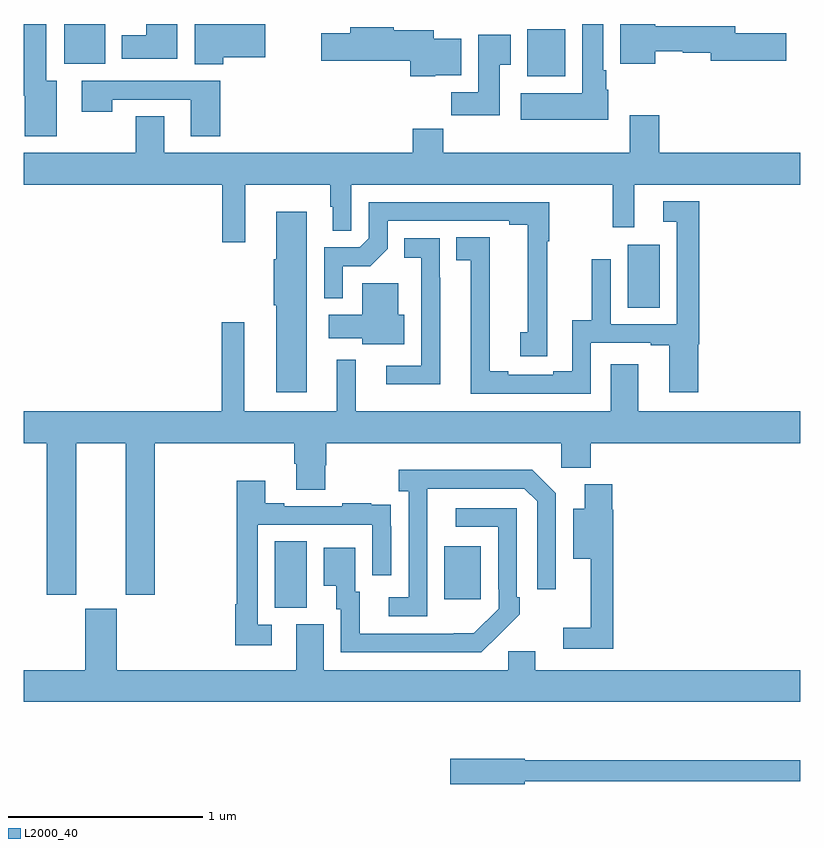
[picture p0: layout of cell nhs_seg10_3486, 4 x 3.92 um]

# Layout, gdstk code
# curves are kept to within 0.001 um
import gdstk
lib = gdstk.Library(unit=1e-6, precision=1e-09)
def R(c, l, rs):  # rectangles x0, y0, x1, y1
    for r in rs: c.add(gdstk.rectangle(r[:2], r[2:], *l))
def P(c, l, *ps):  # polygons
    for p in ps: c.add(gdstk.Polygon(p, *l))
L2000_40 = (2000, 40)

nhs_seg10_3486 = lib.new_cell('nhs_seg10_3486')
R(nhs_seg10_3486, L2000_40, [(302.294,1275.493,302.458,1275.836), (303.167,1275.537,303.355,1275.811), (304.112,1277.038,304.276,1277.362), (303.593,1278.23,303.79,1278.472), (301.208,1278.296,301.42,1278.5)])
P(nhs_seg10_3486, L2000_40, [(302.027,1278.329),(302.245,1278.329),(302.245,1278.5),(301.88,1278.5),(301.88,1278.292),(302.027,1278.292)],
  [(304.012,1278.162),(304,1278.162),(304,1278.262),(303.985,1278.262),(303.985,1278.5),(303.878,1278.5),(303.878,1278.142),(303.561,1278.142),(303.561,1278.008),(304.012,1278.008)],
  [(301.792,1278.5),(301.631,1278.5),(301.631,1278.442),(301.505,1278.442),(301.505,1278.32),(301.792,1278.32)],
  [(304.252,1278.36),(304.395,1278.36),(304.395,1278.352),(304.538,1278.352),(304.538,1278.31),(304.927,1278.31),(304.927,1278.452),(304.666,1278.452),(304.666,1278.488),(304.252,1278.488),(304.252,1278.5),(304.073,1278.5),(304.073,1278.296),(304.252,1278.296)],
  [(301.171,1278.208),(301.117,1278.208),(301.117,1278.5),(301,1278.5),(301,1278.13),(301.004,1278.13),(301.004,1277.922),(301.171,1277.922)],
  [(303.12,1278.236),(303.253,1278.236),(303.253,1278.424),(303.112,1278.424),(303.112,1278.469),(302.906,1278.469),(302.906,1278.482),(302.681,1278.482),(302.681,1278.452),(302.532,1278.452),(302.532,1278.31),(302.99,1278.31),(302.99,1278.23),(303.12,1278.23)],
  [(303.451,1278.289),(303.508,1278.289),(303.508,1278.445),(303.341,1278.445),(303.341,1278.148),(303.202,1278.148),(303.202,1278.03),(303.451,1278.03)],
  [(302.012,1278.207),(301.299,1278.207),(301.299,1278.048),(301.455,1278.048),(301.455,1278.111),(301.859,1278.111),(301.859,1277.922),(302.012,1277.922)],
  [(302.14,1277.672),(302.58,1277.672),(302.58,1277.559),(302.591,1277.559),(302.591,1277.434),(302.688,1277.434),(302.688,1277.672),(304.035,1277.672),(304.035,1277.454),(304.144,1277.454),(304.144,1277.672),(305,1277.672),(305,1277.836),(304.274,1277.836),(304.274,1278.031),(304.121,1278.031),(304.121,1277.836),(303.161,1277.836),(303.161,1277.96),(303.005,1277.96),(303.005,1277.836),(301.723,1277.836),(301.723,1278.026),(301.576,1278.026),(301.576,1277.836),(301,1277.836),(301,1277.672),(302.023,1277.672),(302.023,1277.376),(302.14,1277.376)],
  [(303.921,1276.857),(304.229,1276.857),(304.229,1276.845),(304.325,1276.845),(304.325,1276.602),(304.475,1276.602),(304.475,1276.85),(304.481,1276.85),(304.481,1277.587),(304.293,1277.587),(304.293,1277.481),(304.365,1277.481),(304.365,1276.953),(304.023,1276.953),(304.023,1277.287),(303.925,1277.287),(303.925,1276.973),(303.825,1276.973),(303.825,1276.712),(303.728,1276.712),(303.728,1276.692),(303.496,1276.692),(303.496,1276.712),(303.4,1276.712),(303.4,1276.993),(303.401,1276.993),(303.401,1277.402),(303.229,1277.402),(303.229,1277.284),(303.302,1277.284),(303.302,1276.596),(303.921,1276.596)],
  [(303.697,1277.38),(303.707,1277.38),(303.707,1277.583),(302.778,1277.583),(302.778,1277.397),(302.73,1277.349),(302.547,1277.349),(302.547,1277.087),(302.643,1277.087),(302.643,1277.253),(302.784,1277.253),(302.874,1277.343),(302.874,1277.487),(303.5,1277.487),(303.5,1277.467),(303.596,1277.467),(303.596,1276.912),(303.557,1276.912),(303.557,1276.788),(303.697,1276.788)],
  [(302.458,1277.533),(302.3,1277.533),(302.3,1277.288),(302.288,1277.288),(302.288,1277.05),(302.3,1277.05),(302.3,1276.602),(302.458,1276.602)],
  [(303.145,1277.194),(303.144,1277.194),(303.144,1277.397),(302.959,1277.397),(302.959,1277.296),(303.048,1277.296),(303.048,1276.74),(302.868,1276.74),(302.868,1276.643),(303.145,1276.643)],
  [(302.959,1277.002),(302.929,1277.002),(302.929,1277.164),(302.744,1277.164),(302.744,1277.002),(302.571,1277.002),(302.571,1276.88),(302.744,1276.88),(302.744,1276.85),(302.959,1276.85)],
  [(302.393,1276.234),(302.405,1276.234),(302.405,1276.102),(302.553,1276.102),(302.553,1276.227),(302.558,1276.227),(302.558,1276.34),(303.768,1276.34),(303.768,1276.214),(303.92,1276.214),(303.92,1276.34),(305,1276.34),(305,1276.504),(304.165,1276.504),(304.165,1276.747),(304.025,1276.747),(304.025,1276.504),(302.71,1276.504),(302.71,1276.771),(302.612,1276.771),(302.612,1276.504),(302.137,1276.504),(302.137,1276.963),(302.02,1276.963),(302.02,1276.504),(301,1276.504),(301,1276.34),(301.118,1276.34),(301.118,1275.561),(301.27,1275.561),(301.27,1276.34),(301.526,1276.34),(301.526,1275.561),(301.674,1275.561),(301.674,1276.34),(302.393,1276.34)],
  [(303.078,1275.907),(303.079,1276.107),(303.579,1276.107),(303.645,1276.041),(303.645,1275.588),(303.741,1275.588),(303.741,1276.083),(303.62,1276.204),(302.931,1276.204),(302.931,1276.094),(302.982,1276.094),(302.982,1275.546),(302.88,1275.546),(302.88,1275.45),(303.078,1275.45)],
  [(302.278,1275.405),(302.205,1275.405),(302.205,1275.921),(302.796,1275.921),(302.796,1275.66),(302.892,1275.66),(302.892,1275.914),(302.891,1275.914),(302.891,1276.023),(302.789,1276.023),(302.789,1276.03),(302.641,1276.03),(302.641,1276.017),(302.341,1276.017),(302.341,1276.03),(302.245,1276.03),(302.245,1276.147),(302.097,1276.147),(302.097,1275.512),(302.089,1275.512),(302.089,1275.3),(302.278,1275.3)],
  [(304.037,1275.999),(304.031,1275.999),(304.031,1276.129),(303.89,1276.129),(303.89,1276.003),(303.83,1276.003),(303.83,1275.746),(303.92,1275.746),(303.92,1275.391),(303.78,1275.391),(303.78,1275.282),(304.037,1275.282)],
  [(303.449,1275.355),(303.45,1275.354),(303.555,1275.459),(303.555,1275.547),(303.54,1275.547),(303.54,1276.005),(303.225,1276.005),(303.225,1275.909),(303.444,1275.909),(303.444,1275.589),(303.447,1275.589),(303.447,1275.489),(303.319,1275.361),(302.731,1275.36),(302.731,1275.576),(302.707,1275.576),(302.707,1275.802),(302.546,1275.802),(302.546,1275.605),(302.609,1275.605),(302.609,1275.486),(302.634,1275.486),(302.634,1275.264),(303.358,1275.264)],
  [(305,1275.172),(303.634,1275.172),(303.634,1275.27),(303.495,1275.27),(303.495,1275.172),(302.545,1275.172),(302.545,1275.408),(302.405,1275.408),(302.405,1275.172),(301.48,1275.172),(301.48,1275.489),(301.316,1275.489),(301.316,1275.172),(301,1275.172),(301,1275.008),(305,1275.008)],
  [(303.582,1274.598),(305,1274.598),(305,1274.707),(303.582,1274.707),(303.582,1274.715),(303.198,1274.715),(303.198,1274.585),(303.582,1274.585)])

lib.write_gds('nhs_seg10_3486.gds')
